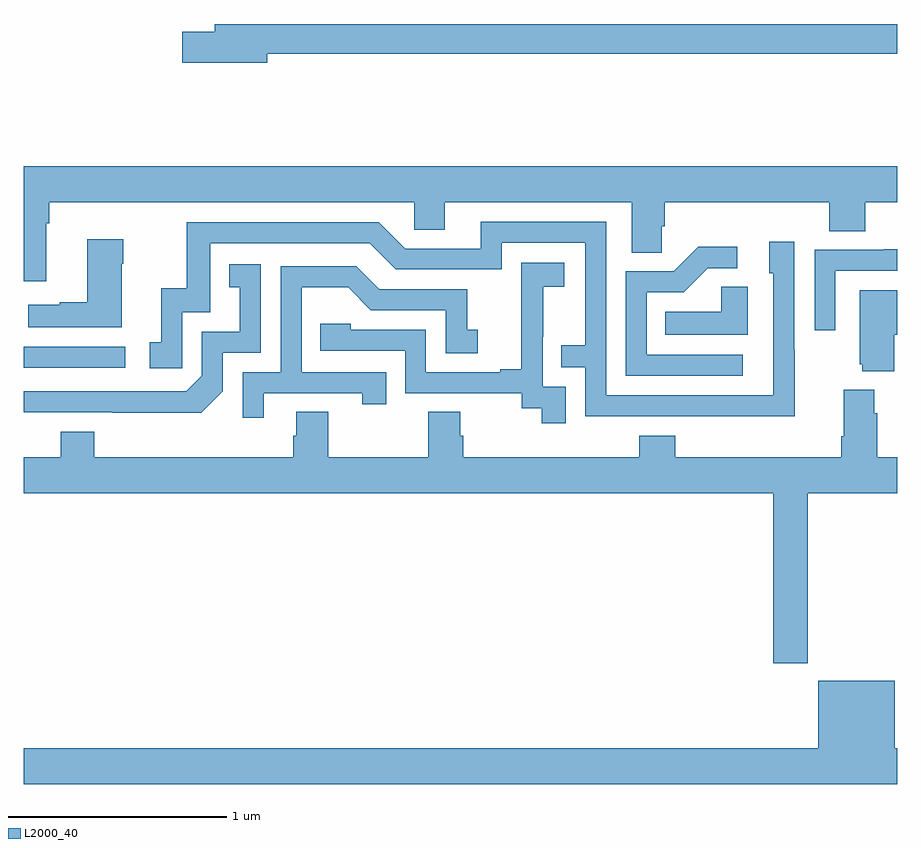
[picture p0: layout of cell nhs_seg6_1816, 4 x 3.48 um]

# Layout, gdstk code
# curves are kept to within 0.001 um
import gdstk
lib = gdstk.Library(unit=1e-6, precision=1e-09)
def R(c, l, rs):  # rectangles x0, y0, x1, y1
    for r in rs: c.add(gdstk.rectangle(r[:2], r[2:], *l))
def P(c, l, *ps):  # polygons
    for p in ps: c.add(gdstk.Polygon(p, *l))
L2000_40 = (2000, 40)

nhs_seg6_1816 = lib.new_cell('nhs_seg6_1816')
R(nhs_seg6_1816, L2000_40, [(219,991.866,219.466,991.962)])
P(nhs_seg6_1816, L2000_40, [(220.114,993.304),(223,993.304),(223,993.44),(219.875,993.44),(219.875,993.404),(219.726,993.404),(219.726,993.262),(220.114,993.262)],
  [(219.103,992.528),(219.116,992.528),(219.116,992.624),(220.788,992.624),(220.788,992.497),(220.927,992.497),(220.927,992.624),(221.783,992.624),(221.783,992.392),(221.922,992.392),(221.922,992.515),(221.936,992.515),(221.936,992.624),(222.689,992.624),(222.689,992.491),(222.854,992.491),(222.854,992.624),(223,992.624),(223,992.788),(219,992.788),(219,992.262),(219.103,992.262)],
  [(222.531,991.949),(222.528,991.949),(222.528,992.443),(222.413,992.443),(222.413,992.298),(222.432,992.298),(222.432,991.74),(221.667,991.74),(221.667,992.535),(221.093,992.535),(221.093,992.412),(220.746,992.412),(220.626,992.532),(219.747,992.532),(219.747,992.23),(219.629,992.23),(219.629,991.983),(219.576,991.983),(219.576,991.863),(219.726,991.863),(219.726,992.121),(219.855,992.121),(219.855,992.436),(220.584,992.436),(220.704,992.316),(221.19,992.316),(221.19,992.439),(221.571,992.439),(221.571,991.97),(221.461,991.97),(221.461,991.869),(221.571,991.869),(221.571,991.644),(222.531,991.643)],
  [(219.448,992.342),(219.456,992.342),(219.456,992.455),(219.29,992.455),(219.29,992.165),(219.164,992.165),(219.164,992.155),(219.021,992.155),(219.021,992.051),(219.448,992.051)],
  [(222.292,991.926),(221.853,991.926),(221.853,992.211),(222.022,992.211),(222.133,992.322),(222.268,992.322),(222.268,992.42),(222.089,992.42),(221.976,992.307),(221.757,992.307),(221.757,991.83),(222.292,991.83)],
  [(222.717,992.31),(223,992.31),(223,992.408),(222.937,992.408),(222.937,992.406),(222.621,992.406),(222.621,992.037),(222.717,992.037)],
  [(221.481,991.779),(221.376,991.779),(221.376,992.009),(221.378,992.009),(221.378,992.237),(221.476,992.237),(221.476,992.347),(221.278,992.347),(221.278,992.141),(221.279,992.141),(221.279,991.858),(221.183,991.858),(221.183,991.845),(220.842,991.845),(220.842,992.04),(220.497,992.04),(220.497,992.067),(220.357,992.067),(220.357,991.944),(220.746,991.944),(220.746,991.749),(221.28,991.749),(221.28,991.681),(221.373,991.681),(221.373,991.611),(221.481,991.611)],
  [(219.912,991.758),(219.912,991.935),(220.086,991.935),(220.086,992.341),(219.94,992.341),(219.94,992.235),(219.989,992.235),(219.989,992.031),(219.816,992.031),(219.816,991.83),(219.744,991.758),(219,991.758),(219,991.662),(219.814,991.661)],
  [(220.099,991.749),(220.55,991.749),(220.55,991.698),(220.661,991.698),(220.661,991.845),(220.272,991.845),(220.272,992.234),(220.486,992.234),(220.59,992.13),(220.932,992.13),(220.932,991.932),(221.08,991.932),(221.08,992.041),(221.031,992.041),(221.031,992.226),(220.627,992.226),(220.522,992.331),(220.176,992.331),(220.176,991.845),(220.002,991.845),(220.002,991.638),(220.099,991.638)],
  [(222.316,992.237),(222.195,992.237),(222.195,992.122),(221.938,992.122),(221.938,992.018),(222.316,992.018)],
  [(222.985,992.018),(223,992.018),(223,992.221),(222.827,992.221),(222.827,991.881),(222.839,991.881),(222.839,991.85),(222.985,991.85)],
  [(220.852,991.664),(220.852,991.456),(220.395,991.456),(220.395,991.664),(220.247,991.664),(220.247,991.554),(220.235,991.554),(220.235,991.456),(219.323,991.456),(219.323,991.573),(219.17,991.573),(219.17,991.456),(219,991.456),(219,991.292),(222.431,991.292),(222.431,990.513),(222.591,990.513),(222.591,991.292),(223,991.292),(223,991.456),(222.908,991.456),(222.908,991.658),(222.895,991.658),(222.895,991.765),(222.755,991.765),(222.755,991.552),(222.743,991.552),(222.743,991.456),(221.984,991.456),(221.984,991.555),(221.819,991.555),(221.819,991.456),(221.012,991.456),(221.012,991.554),(220.999,991.554),(220.999,991.664)],
  [(223,990.124),(222.988,990.124),(222.988,990.433),(222.638,990.433),(222.638,990.124),(219,990.124),(219,989.96),(223,989.96)])

lib.write_gds('nhs_seg6_1816.gds')
